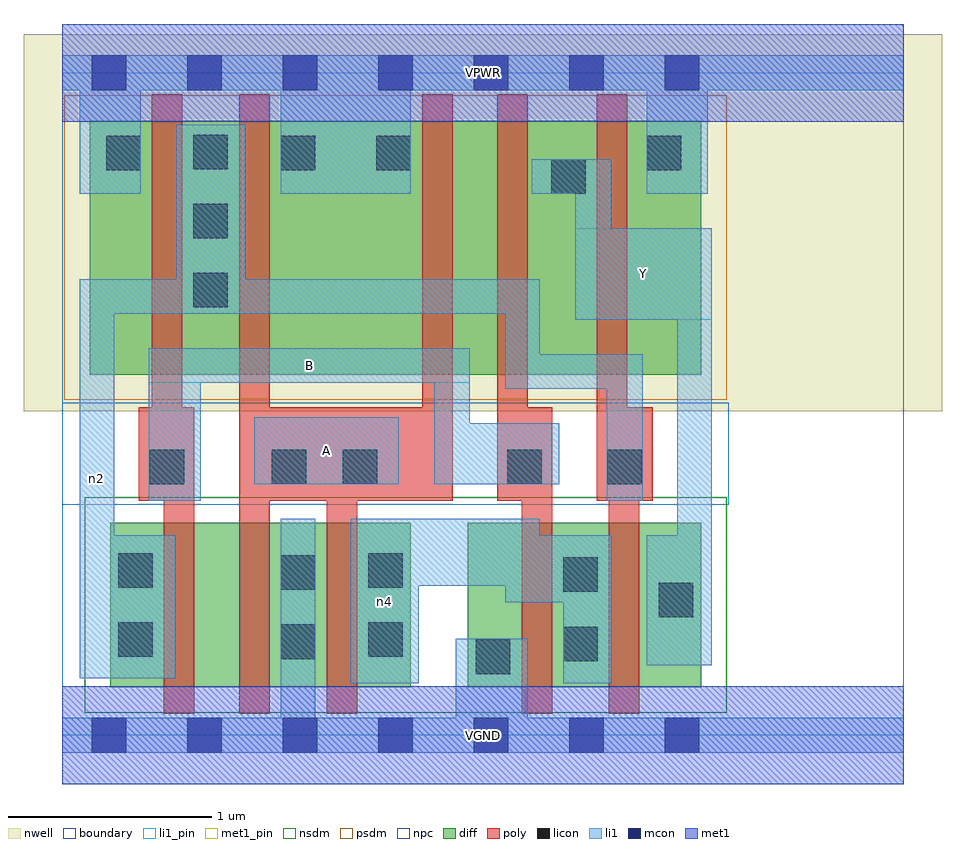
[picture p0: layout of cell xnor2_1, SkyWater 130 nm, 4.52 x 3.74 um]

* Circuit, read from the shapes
.subckt xnor2_1 A B VGND VPWR Y n2 n4
XM1 n1 B n2 VSUBS sky130_fd_pr__nfet_01v8 w=0.81 l=0.15
XM2 VGND A n1 VSUBS sky130_fd_pr__nfet_01v8 w=0.81 l=0.15
XM3 n4 A VGND VSUBS sky130_fd_pr__nfet_01v8 w=0.81 l=0.15
XM4 n4 B VGND VSUBS sky130_fd_pr__nfet_01v8 w=0.81 l=0.15
XM5 Y n2 n4 VSUBS sky130_fd_pr__nfet_01v8 w=0.81 l=0.15
XM6 n2 B VPWR n3 sky130_fd_pr__pfet_01v8 w=1.25 l=0.15
XM7 VPWR A n2 n3 sky130_fd_pr__pfet_01v8 w=1.25 l=0.15
XM8 n5 A VPWR n3 sky130_fd_pr__pfet_01v8 w=1.25 l=0.15
XM9 Y B n5 n3 sky130_fd_pr__pfet_01v8 w=1.25 l=0.15
XM10 VPWR n2 Y n3 sky130_fd_pr__pfet_01v8 w=1.25 l=0.15
.ends

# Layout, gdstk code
import gdstk
lib = gdstk.Library(unit=1e-6, precision=1e-09)
def R(c, l, rs):  # rectangles x0, y0, x1, y1
    for r in rs: c.add(gdstk.rectangle(r[:2], r[2:], *l))
def A(c, l, x, y, w, h, nx, ny, dx, dy):  # array of equal rectangles
    R(c, l, [(x+i*dx, y+j*dy, x+i*dx+w, y+j*dy+h) for i in range(nx) for j in range(ny)])
nwell = (64, 20)
diff = (65, 20)
poly = (66, 20)
licon = (66, 44)
li1_pin = (67, 16)
li1 = (67, 20)
mcon = (67, 44)
met1_pin = (68, 16)
met1 = (68, 20)
nsdm = (93, 44)
psdm = (94, 20)
npc = (95, 20)
boundary = (235, 4)

xnor2_1 = lib.new_cell('xnor2_1')
R(xnor2_1, nwell, [(-0.19,1.595,4.33,3.45), (0,1.595,4.14,3.45)])
R(xnor2_1, diff, [(0.235,0.235,1.715,1.045), (1.995,0.235,3.145,1.045), (0.135,1.775,3.145,3.025)])
R(xnor2_1, poly, [(0.5,0.105,0.65,1.615), (0.87,0.105,1.02,3.155), (1.3,0.105,1.45,1.615), (2.26,0.105,2.41,1.615), (2.69,0.105,2.84,1.615), (0.375,1.155,0.65,1.615), (0.44,1.155,0.59,3.155), (0.87,1.155,1.92,1.615), (1.77,1.155,1.92,3.155), (2.14,1.155,2.29,3.155), (2.63,1.155,2.905,1.615), (2.63,1.155,2.78,3.155)])
A(xnor2_1, licon, 0.645, 2.105, 0.17, 0.17, 1, 3, 0, 0.34)
R(xnor2_1, licon, [(2.035,0.3,2.205,0.47), (2.465,0.365,2.635,0.535), (1.075,0.375,1.245,0.545), (0.275,0.385,0.445,0.555), (1.505,0.385,1.675,0.555), (2.935,0.58,3.105,0.75), (2.465,0.705,2.635,0.875), (1.075,0.715,1.245,0.885), (0.275,0.725,0.445,0.895), (1.505,0.725,1.675,0.895), (0.43,1.235,0.6,1.405), (1.03,1.235,1.2,1.405), (1.38,1.235,1.55,1.405), (2.19,1.235,2.36,1.405), (2.68,1.235,2.85,1.405), (2.405,2.665,2.575,2.835), (0.215,2.78,0.385,2.95), (1.075,2.78,1.245,2.95), (1.545,2.78,1.715,2.95), (2.875,2.78,3.045,2.95)])
R(xnor2_1, li1_pin, [(0.945,1.235,1.655,1.565), (0.425,1.735,2.005,1.905), (2.525,2.045,3.195,2.495)])
R(xnor2_1, li1, [(0,-0.085,4.14,0.085), (1.075,-0.085,1.245,1.065), (1.935,-0.085,2.29,0.475), (1.42,0.255,1.755,1.065), (2.465,0.255,2.7,0.985), (0.085,0.28,0.255,2.245), (0.085,0.28,0.555,0.985), (2.875,0.345,3.195,0.985), (3.025,0.345,3.195,2.495), (2.18,0.655,2.7,0.985), (1.42,0.735,2.35,1.065), (0.425,1.155,0.68,1.905), (2.68,1.155,2.855,1.875), (0.945,1.235,1.655,1.565), (1.83,1.235,2.445,1.535), (1.83,1.235,2.005,1.905), (2.18,1.705,2.855,1.875), (2.18,1.705,2.35,2.245), (0.425,1.735,2.005,1.905), (2.525,2.045,3.195,2.495), (2.525,2.045,2.7,2.835), (0.085,2.075,2.35,2.245), (0.56,2.075,0.9,3.005), (0.085,2.665,0.385,3.345), (1.075,2.665,1.715,3.345), (2.31,2.665,2.7,2.835), (2.875,2.665,3.175,3.345), (0,3.175,4.14,3.345)])
A(xnor2_1, mcon, 0.145, -0.085, 0.17, 0.17, 7, 2, 0.47, 3.26)
R(xnor2_1, met1_pin, [(0,-0.24,4.14,0.24), (0,3.02,4.14,3.5)])
R(xnor2_1, met1, [(0,-0.24,4.14,0.24), (0,3.02,4.14,3.5)])
R(xnor2_1, nsdm, [(0.11,0.11,3.27,1.17)])
R(xnor2_1, psdm, [(0.01,1.65,3.27,3.15)])
R(xnor2_1, npc, [(0,1.135,3.28,1.635)])
R(xnor2_1, boundary, [(0,0,4.14,3.26)])
xnor2_1.add(gdstk.Label('A', (1.3,1.4), layer=67, texttype=5))
xnor2_1.add(gdstk.Label('B', (1.215,1.82), layer=67, texttype=5))
xnor2_1.add(gdstk.Label('Y', (2.86,2.27), layer=67, texttype=5))
xnor2_1.add(gdstk.Label('n4', (1.587,0.66), layer=67, texttype=5))
xnor2_1.add(gdstk.Label('n2', (0.17,1.262), layer=67, texttype=5))
xnor2_1.add(gdstk.Label('VPWR', (2.07,3.26), layer=68, texttype=5))
xnor2_1.add(gdstk.Label('VGND', (2.07,0), layer=68, texttype=5))
xnor2_1.add(gdstk.Label('A', (1.3,1.4), layer=67, texttype=16))
xnor2_1.add(gdstk.Label('B', (1.215,1.82), layer=67, texttype=16))
xnor2_1.add(gdstk.Label('Y', (2.86,2.27), layer=67, texttype=16))
xnor2_1.add(gdstk.Label('VPWR', (2.07,3.26), layer=68, texttype=16))
xnor2_1.add(gdstk.Label('VGND', (2.07,0), layer=68, texttype=16))

lib.write_gds('xnor2_1.gds')
